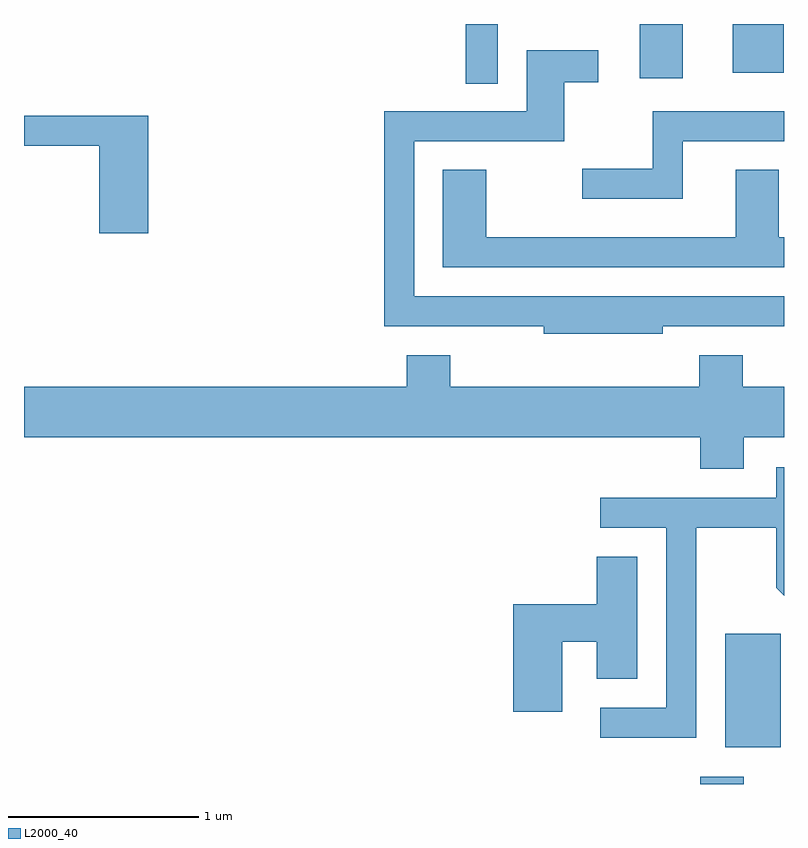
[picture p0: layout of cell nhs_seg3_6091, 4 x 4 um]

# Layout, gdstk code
import gdstk
lib = gdstk.Library(unit=1e-6, precision=1e-09)
def R(c, l, rs):  # rectangles x0, y0, x1, y1
    for r in rs: c.add(gdstk.rectangle(r[:2], r[2:], *l))
def P(c, l, *ps):  # polygons
    for p in ps: c.add(gdstk.Polygon(p, *l))
L2000_40 = (2000, 40)

nhs_seg3_6091 = lib.new_cell('nhs_seg3_6091')
R(nhs_seg3_6091, L2000_40, [(367.171,1201.892,367.399,1201.929), (367.301,1202.086,367.594,1202.684), (365.936,1205.578,366.104,1205.892), (366.851,1205.606,367.079,1205.892), (367.341,1205.636,367.609,1205.892)])
P(nhs_seg3_6091, L2000_40, [(366.974,1204.301),(367.611,1204.301),(367.611,1204.459),(365.664,1204.459),(365.664,1205.276),(366.454,1205.276),(366.454,1205.586),(366.633,1205.586),(366.633,1205.754),(366.256,1205.754),(366.256,1205.434),(365.506,1205.434),(365.506,1204.301),(366.346,1204.301),(366.346,1204.261),(366.974,1204.261)],
  [(367.079,1205.276),(367.611,1205.276),(367.611,1205.434),(366.921,1205.434),(366.921,1205.129),(366.548,1205.129),(366.548,1204.971),(367.079,1204.971)],
  [(364.264,1205.409),(363.611,1205.409),(363.611,1205.251),(364.006,1205.251),(364.006,1204.791),(364.264,1204.791)],
  [(367.611,1204.769),(367.584,1204.769),(367.584,1205.124),(367.356,1205.124),(367.356,1204.769),(366.044,1204.769),(366.044,1205.124),(365.816,1205.124),(365.816,1204.611),(367.611,1204.611)],
  [(367.399,1203.716),(367.611,1203.716),(367.611,1203.984),(367.394,1203.984),(367.394,1204.149),(367.166,1204.149),(367.166,1203.984),(365.854,1203.984),(365.854,1204.149),(365.626,1204.149),(365.626,1203.984),(363.611,1203.984),(363.611,1203.716),(367.171,1203.716),(367.171,1203.551),(367.399,1203.551)],
  [(367.149,1203.241),(367.571,1203.241),(367.571,1202.924),(367.611,1202.884),(367.611,1203.559),(367.571,1203.559),(367.571,1203.399),(366.643,1203.399),(366.643,1203.241),(366.991,1203.241),(366.991,1202.294),(366.643,1202.294),(366.643,1202.136),(367.149,1202.136)],
  [(366.444,1202.641),(366.626,1202.641),(366.626,1202.446),(366.839,1202.446),(366.839,1203.089),(366.626,1203.089),(366.626,1202.839),(366.186,1202.839),(366.186,1202.271),(366.444,1202.271)])

lib.write_gds('nhs_seg3_6091.gds')
